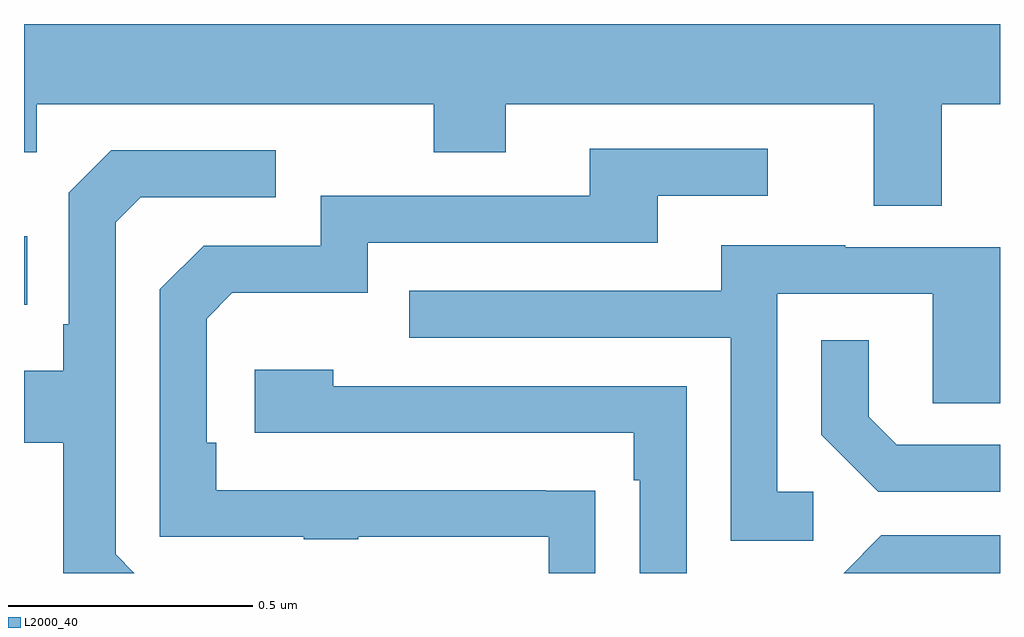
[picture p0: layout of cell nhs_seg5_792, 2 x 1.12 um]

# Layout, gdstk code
import gdstk
lib = gdstk.Library(unit=1e-6, precision=1e-09)
def R(c, l, rs):  # rectangles x0, y0, x1, y1
    for r in rs: c.add(gdstk.rectangle(r[:2], r[2:], *l))
def P(c, l, *ps):  # polygons
    for p in ps: c.add(gdstk.Polygon(p, *l))
L2000_40 = (2000, 40)

nhs_seg5_792 = lib.new_cell('nhs_seg5_792')
R(nhs_seg5_792, L2000_40, [(121,856.349,121.007,856.489)])
P(nhs_seg5_792, L2000_40, [(122.881,856.76),(123,856.76),(123,856.924),(121,856.924),(121,856.661),(121.026,856.661),(121.026,856.76),(121.84,856.76),(121.84,856.661),(121.987,856.661),(121.987,856.76),(122.741,856.76),(122.741,856.552),(122.881,856.552)],
  [(122.171,855.968),(122.069,855.968),(122.069,855.969),(121.394,855.969),(121.394,856.066),(121.374,856.066),(121.374,856.32),(121.427,856.373),(121.704,856.373),(121.704,856.476),(122.299,856.476),(122.299,856.572),(122.524,856.572),(122.524,856.668),(122.159,856.668),(122.159,856.572),(121.608,856.572),(121.608,856.47),(121.368,856.47),(121.278,856.38),(121.278,855.873),(121.573,855.873),(121.573,855.868),(121.685,855.868),(121.685,855.873),(122.075,855.873),(122.075,855.799),(122.171,855.799)],
  [(121.188,855.837),(121.188,856.518),(121.239,856.569),(121.516,856.569),(121.516,856.665),(121.179,856.665),(121.092,856.578),(121.092,856.309),(121.08,856.309),(121.08,856.213),(121,856.213),(121,856.066),(121.08,856.066),(121.08,855.799),(121.226,855.799)],
  [(122.617,855.966),(122.544,855.966),(122.544,856.371),(122.862,856.371),(122.862,856.147),(123,856.147),(123,856.467),(122.683,856.467),(122.683,856.471),(122.429,856.471),(122.429,856.377),(121.789,856.377),(121.789,856.281),(122.448,856.281),(122.448,855.865),(122.617,855.865)],
  [(123,856.062),(122.788,856.062),(122.731,856.119),(122.731,856.276),(122.634,856.276),(122.634,856.082),(122.75,855.966),(123,855.966)],
  [(122.358,856.182),(121.634,856.182),(121.634,856.216),(121.473,856.216),(121.473,856.086),(122.249,856.086),(122.249,855.989),(122.262,855.989),(122.262,855.799),(122.358,855.799)],
  [(123,855.876),(122.757,855.876),(122.68,855.799),(123,855.799)])

lib.write_gds('nhs_seg5_792.gds')
